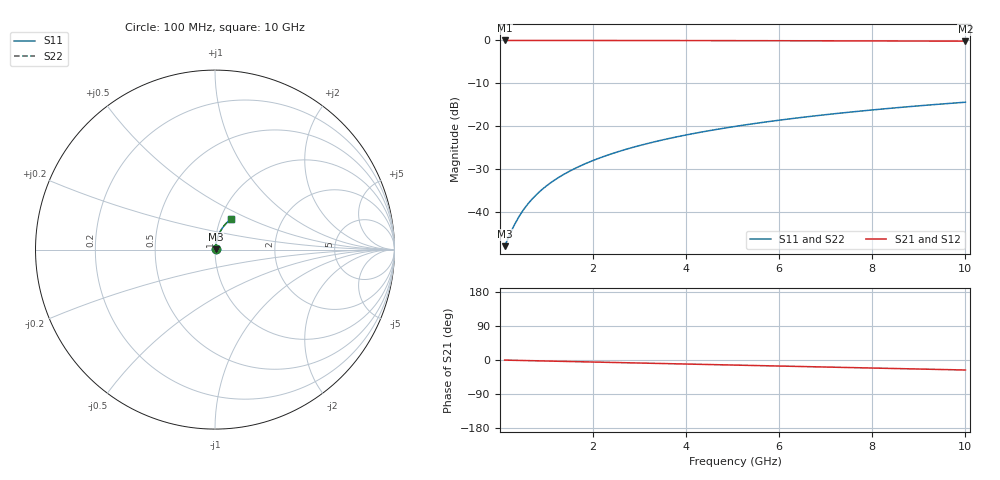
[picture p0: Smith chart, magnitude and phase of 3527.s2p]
# Hz S RI R 50.00
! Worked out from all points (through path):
!   100 points, 100 MHz to 10 GHz, reference 50 ohm
!   highest |S21| = -0.03 dB at 100 MHz (marker M1); lowest = -0.2 dB at 10 GHz (marker M2)
!   group delay of S21, straight-line fit = 7.34 ps
!   lowest |S11| = -47.9 dB at 100 MHz (marker M3), VSWR 1.01, Z = 50.4 + j0.199 ohm
!   |S11| at or under -10 dB: start of sweep to end of sweep
!   |S22| runs from -47.9 to -14.4 dB; largest |S21 - S12| = 0
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1e8  0.0035 0.00198  0.9965 -0.00463  0.9965 -0.00463  0.0035 0.00198
3e8  0.00361 0.00592  0.9963 -0.0139  0.9963 -0.0139  0.00361 0.00592
4e8  0.00369 0.0079  0.9962 -0.0185  0.9962 -0.0185  0.00369 0.0079
5e8  0.00378 0.00987  0.9961 -0.0232  0.9961 -0.0232  0.00378 0.00987
6e8  0.00389 0.0118  0.996 -0.0278  0.996 -0.0278  0.00389 0.0118
7e8  0.00402 0.0138  0.9958 -0.0324  0.9958 -0.0324  0.00402 0.0138
8e8  0.00417 0.0158  0.9956 -0.037  0.9956 -0.037  0.00417 0.0158
9e8  0.00433 0.0178  0.9954 -0.0417  0.9954 -0.0417  0.00433 0.0178
1e9  0.00451 0.0197  0.9951 -0.0463  0.9951 -0.0463  0.00451 0.0197
1.2e9  0.00492 0.0236  0.9945 -0.0555  0.9945 -0.0555  0.00492 0.0236
1.5e9  0.00568 0.0295  0.9935 -0.0694  0.9935 -0.0694  0.00568 0.0295
1.8e9  0.0066 0.0354  0.9922 -0.0832  0.9922 -0.0832  0.0066 0.0354
2.1e9  0.00768 0.0412  0.9907 -0.097  0.9907 -0.097  0.00768 0.0412
2.5e9  0.00937 0.0489  0.9884 -0.1153  0.9884 -0.1153  0.00937 0.0489
2.9e9  0.0113 0.0565  0.9856 -0.1336  0.9856 -0.1336  0.0113 0.0565
3.4e9  0.0142 0.0659  0.9816 -0.1563  0.9816 -0.1563  0.0142 0.0659
4.2e9  0.0197 0.0807  0.974 -0.1924  0.974 -0.1924  0.0197 0.0807
5.1e9  0.0271 0.0967  0.9635 -0.2323  0.9635 -0.2323  0.0271 0.0967
5.9e9  0.0348 0.1103  0.9527 -0.2673  0.9527 -0.2673  0.0348 0.1103
6.7e9  0.0434 0.1233  0.9404 -0.3016  0.9404 -0.3016  0.0434 0.1233
8.4e9  0.0647 0.1485  0.9098 -0.3721  0.9098 -0.3721  0.0647 0.1485
1e10  0.0879 0.1689  0.8757 -0.435  0.8757 -0.435  0.0879 0.1689
